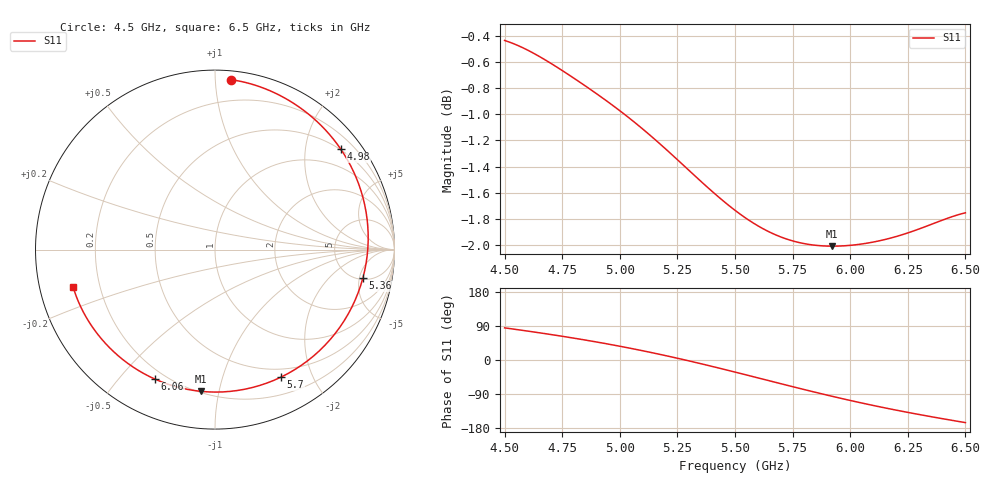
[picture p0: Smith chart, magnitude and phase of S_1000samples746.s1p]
! TOUCHSTONE file generated by CST MICROWAVE STUDIO
! Date and time: Sat Oct 29 06:06:28 2022
! Project name: L.cst
! Parameters = {Di=1.27; Epsilon_r=1.56; InnerDiameter=1.27; Length=2; Lf=10; Lg=60; OuterConductorThickness=0.2921; OuterDiameter=3.6; Wf=3; Wp=41.2; de=1.5; df=6.8; g=0.8; gx=4.27394; gy=1.62903; h=2.34; hf=1.524; px=10.7759; py=9.07234; w=9.7; wx=6.50194; wy=7.44332}
! Header version: 2018
! Port assignment regex: !\s*Touchstone port\s*([0-9]+)\s*=\s*(CST MWS port|CST DS port)\s*([0-9]+|Zmin|Zmax)\s*\(\"(.*)\"\)(\s*mode\s*([0-9]+))?.*
! Touchstone port assignment:
! Touchstone port 1 = CST MWS port 1 ("")
# GHz S DB R 50
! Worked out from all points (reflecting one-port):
!   101 points, 4.5 GHz to 6.5 GHz, reference 50 ohm
!   lowest |S11| = -2.0 dB at 5.92 GHz (marker M1), VSWR 8.69, Z = 10.4 - j44.3 ohm
!   phase of S11 starts at 85 deg and turns -250 deg over the sweep
!   S11 on the Smith chart (normalised r, x): 4.5 GHz: 0.06, +1.09; 4.98 GHz: 0.49, +2.78; 5.36 GHz: 5.23, -5.64; 5.7 GHz: 0.40, -1.57; 6.06 GHz: 0.16, -0.63; 6.5 GHz: 0.10, -0.13
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4.5  -0.44 84.8
4.58  -0.49 78.0
4.64  -0.55 72.8
4.76  -0.68 61.6
4.88  -0.82 49.5
4.98  -0.95 38.6
5  -0.97 36.3
5.08  -1.08 26.8
5.14  -1.17 19.2
5.2  -1.27 11.4
5.26  -1.36 3.2
5.32  -1.46 -5.2
5.36  -1.53 -11.0
5.42  -1.62 -19.8
5.5  -1.73 -31.9
5.6  -1.85 -47.3
5.66  -1.91 -56.5
5.7  -1.94 -62.7
5.76  -1.97 -71.9
5.84  -2.00 -83.9
5.92  -2.01 -95.5
6  -2.00 -106.7
6.06  -1.99 -114.8
6.16  -1.95 -127.5
6.26  -1.90 -139.4
6.38  -1.82 -152.7
6.44  -1.78 -159.0
6.5  -1.75 -165.2
